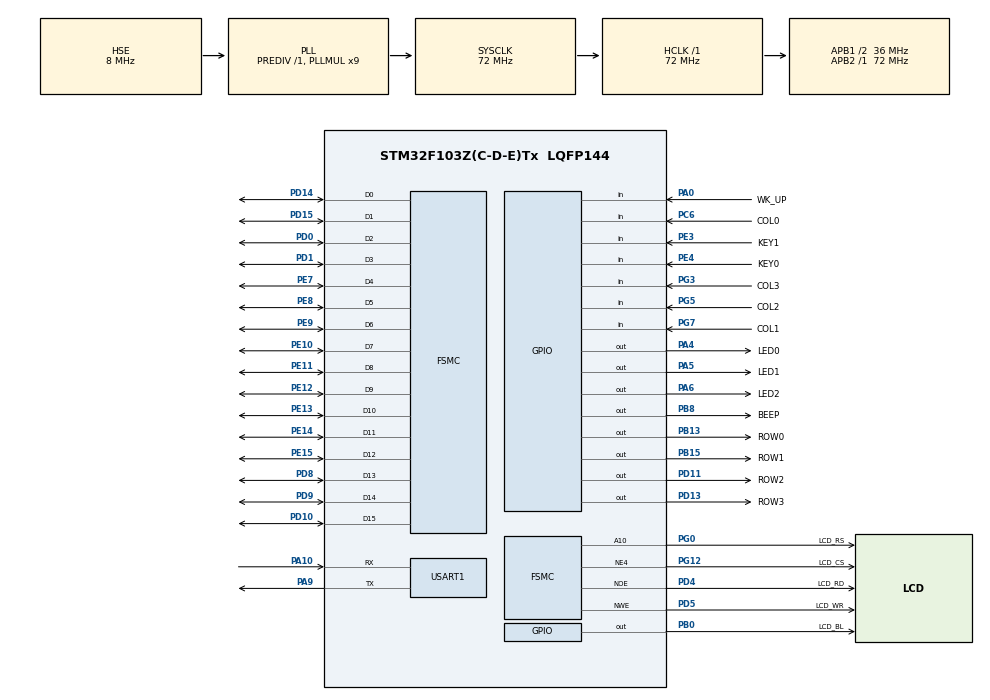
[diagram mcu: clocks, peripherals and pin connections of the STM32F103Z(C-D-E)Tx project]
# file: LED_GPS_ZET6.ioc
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FSMC.AddressSetupTime1=0
FSMC.BusTurnAroundDuration1=0
FSMC.DataSetupTime1=1
FSMC.ExtendedAddressSetupTime1=0
FSMC.ExtendedBusTurnAroundDuration1=0
FSMC.ExtendedDataSetupTime1=1
FSMC.ExtendedMode1=FSMC_EXTENDED_MODE_ENABLE
Mcu.Family=STM32F1
Mcu.Name=STM32F103Z(C-D-E)Tx
Mcu.Package=LQFP144
NVIC.PriorityGroup=NVIC_PRIORITYGROUP_2
NVIC.TIM1_UP_IRQn=true\:1\:0\:true\:false\:true\:true\:true\:true
NVIC.TIM6_IRQn=true\:3\:0\:true\:false\:true\:true\:true\:true
NVIC.USART1_IRQn=true\:2\:2\:true\:false\:true\:true\:true\:true
OSC_IN.Mode=HSE-External-Oscillator
OSC_IN.Signal=RCC_OSC_IN
OSC_OUT.Mode=HSE-External-Oscillator
OSC_OUT.Signal=RCC_OSC_OUT
PA0-WKUP.GPIO_Label=WK_UP
PA0-WKUP.GPIO_PuPd=GPIO_PULLDOWN
PA0-WKUP.Signal=GPIO_Input
PA10.Mode=Asynchronous
PA10.Signal=USART1_RX
PA13.Mode=Serial_Wire
PA13.Signal=SYS_JTMS-SWDIO
PA14.Mode=Serial_Wire
PA14.Signal=SYS_JTCK-SWCLK
PA4.GPIO_Label=LED0
PA4.GPIO_PuPd=GPIO_PULLDOWN
PA4.GPIO_Speed=GPIO_SPEED_FREQ_HIGH
PA4.Signal=GPIO_Output
PA5.GPIO_Label=LED1
PA5.GPIO_PuPd=GPIO_PULLDOWN
PA5.GPIO_Speed=GPIO_SPEED_FREQ_HIGH
PA5.Signal=GPIO_Output
PA6.GPIO_Label=LED2
PA6.GPIO_PuPd=GPIO_PULLDOWN
PA6.GPIO_Speed=GPIO_SPEED_FREQ_HIGH
PA6.Signal=GPIO_Output
PA9.Mode=Asynchronous
PA9.Signal=USART1_TX
PB0.GPIO_Label=LCD_BL
PB0.GPIO_PuPd=GPIO_PULLUP
PB0.GPIO_Speed=GPIO_SPEED_FREQ_HIGH
PB0.PinState=GPIO_PIN_SET
PB0.Signal=GPIO_Output
PB13.GPIO_Label=ROW0
PB13.GPIO_PuPd=GPIO_PULLUP
PB13.PinState=GPIO_PIN_SET
PB13.Signal=GPIO_Output
PB15.GPIO_Label=ROW1
PB15.GPIO_PuPd=GPIO_PULLUP
PB15.PinState=GPIO_PIN_SET
PB15.Signal=GPIO_Output
PB8.GPIO_Label=BEEP
PB8.GPIO_ModeDefaultOutputPP=GPIO_MODE_OUTPUT_PP
PB8.GPIO_PuPd=GPIO_PULLDOWN
PB8.GPIO_Speed=GPIO_SPEED_FREQ_HIGH
PB8.PinState=GPIO_PIN_RESET
PB8.Signal=GPIO_Output
PC14-OSC32_IN.Mode=LSE-External-Oscillator
PC14-OSC32_IN.Signal=RCC_OSC32_IN
PC15-OSC32_OUT.Mode=LSE-External-Oscillator
PC15-OSC32_OUT.Signal=RCC_OSC32_OUT
PC6.GPIO_Label=COL0
PC6.GPIO_PuPd=GPIO_PULLUP
PC6.Signal=GPIO_Input
PD0.Signal=FSMC_D2_DA2
PD1.Signal=FSMC_D3_DA3
PD10.Signal=FSMC_D15_DA15
PD11.GPIO_Label=ROW2
PD11.GPIO_PuPd=GPIO_PULLUP
PD11.PinState=GPIO_PIN_SET
PD11.Signal=GPIO_Output
PD13.GPIO_Label=ROW3
PD13.GPIO_PuPd=GPIO_PULLUP
PD13.PinState=GPIO_PIN_SET
PD13.Signal=GPIO_Output
PD14.Signal=FSMC_D0_DA0
PD15.Signal=FSMC_D1_DA1
PD4.GPIO_Label=LCD_RD
PD4.Signal=FSMC_NOE
PD5.GPIO_Label=LCD_WR
PD5.Signal=FSMC_NWE
PD8.Signal=FSMC_D13_DA13
PD9.Signal=FSMC_D14_DA14
PE10.Signal=FSMC_D7_DA7
PE11.Signal=FSMC_D8_DA8
PE12.Signal=FSMC_D9_DA9
PE13.Signal=FSMC_D10_DA10
PE14.Signal=FSMC_D11_DA11
PE15.Signal=FSMC_D12_DA12
PE3.GPIO_Label=KEY1
PE3.GPIO_PuPd=GPIO_PULLUP
PE3.Signal=GPIO_Input
PE4.GPIO_Label=KEY0
PE4.GPIO_PuPd=GPIO_PULLUP
PE4.Signal=GPIO_Input
PE7.Signal=FSMC_D4_DA4
PE8.Signal=FSMC_D5_DA5
PE9.Signal=FSMC_D6_DA6
PG0.GPIO_Label=LCD_RS
PG0.Signal=FSMC_A10
PG12.GPIO_Label=LCD_CS
PG12.Mode=NorPsramChipSelect4_1
PG12.Signal=FSMC_NE4
PG3.GPIO_Label=COL3
PG3.GPIO_PuPd=GPIO_PULLUP
PG3.Signal=GPIO_Input
PG5.GPIO_Label=COL2
PG5.GPIO_PuPd=GPIO_PULLUP
PG5.Signal=GPIO_Input
PG7.GPIO_Label=COL1
PG7.GPIO_PuPd=GPIO_PULLUP
PG7.Signal=GPIO_Input
ProjectManager.HeapSize=0x200
ProjectManager.StackSize=0x400
ProjectManager.TargetToolchain=STM32CubeIDE
RCC.AHBFreq_Value=72000000
RCC.APB1CLKDivider=RCC_HCLK_DIV2
RCC.APB1Freq_Value=36000000
RCC.APB1TimFreq_Value=72000000
RCC.APB2Freq_Value=72000000
RCC.APB2TimFreq_Value=72000000
RCC.HCLKFreq_Value=72000000
RCC.PLLMUL=RCC_PLL_MUL9
RCC.PLLSourceVirtual=RCC_PLLSOURCE_HSE
RCC.SYSCLKFreq_VALUE=72000000
RCC.SYSCLKSource=RCC_SYSCLKSOURCE_PLLCLK
RCC.USBFreq_Value=72000000
SH.FSMC_A10.0=FSMC_A10,A10_1
SH.FSMC_D0_DA0.0=FSMC_D0,16b-d1
SH.FSMC_D10_DA10.0=FSMC_D10,16b-d1
SH.FSMC_D11_DA11.0=FSMC_D11,16b-d1
SH.FSMC_D12_DA12.0=FSMC_D12,16b-d1
SH.FSMC_D13_DA13.0=FSMC_D13,16b-d1
SH.FSMC_D14_DA14.0=FSMC_D14,16b-d1
SH.FSMC_D15_DA15.0=FSMC_D15,16b-d1
SH.FSMC_D1_DA1.0=FSMC_D1,16b-d1
SH.FSMC_D2_DA2.0=FSMC_D2,16b-d1
SH.FSMC_D3_DA3.0=FSMC_D3,16b-d1
SH.FSMC_D4_DA4.0=FSMC_D4,16b-d1
SH.FSMC_D5_DA5.0=FSMC_D5,16b-d1
SH.FSMC_D6_DA6.0=FSMC_D6,16b-d1
SH.FSMC_D7_DA7.0=FSMC_D7,16b-d1
SH.FSMC_D8_DA8.0=FSMC_D8,16b-d1
SH.FSMC_D9_DA9.0=FSMC_D9,16b-d1
SH.FSMC_NOE.0=FSMC_NOE,Lcd1
SH.FSMC_NWE.0=FSMC_NWE,Lcd1
TIM1.Period=100 - 1
TIM1.Prescaler=45 - 1
TIM6.Period=1000 - 1
TIM6.Prescaler=72 - 1
USART1.VirtualMode=VM_ASYNC
VP_TIM1_VS_ClockSourceINT.Mode=Internal
VP_TIM6_VS_ClockSourceINT.Mode=Enable_Timer
board=custom

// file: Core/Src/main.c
/* USER CODE BEGIN Header */
/**
 ****************************************************************************************************
 * @file        main.c
 * @author      锟斤拷锟斤拷原锟斤拷锟脚讹拷(ALIENTEK)
 * @version     V1.0
 * @date        2024-01-01
 * @brief       TFTLCD(MCU锟斤拷) 实锟斤拷
 * @license     Copyright (c) 2020-2032, 锟斤拷锟斤拷锟斤拷锟斤拷锟斤拷锟斤拷涌萍锟斤拷锟斤拷薰锟剿�
 ****************************************************************************************************
 * @attention
 *
 * 实锟斤拷平台:锟斤拷锟斤拷原锟斤拷 STM32F103锟斤拷锟斤拷锟斤拷
 * 锟斤拷锟斤拷锟斤拷频:www.yuanzige.com
 * 锟斤拷锟斤拷锟斤拷坛:www.openedv.com
 * 锟斤拷司锟斤拷址:www.alientek.com
 * 锟斤拷锟斤拷锟街�:openedv.taobao.com
 *
 ****************************************************************************************************
 */
/* USER CODE END Header */
#include "main.h"
#include "tim.h"
#include "usart.h"
#include "gpio.h"
#include "fsmc.h"

/* USER CODE BEGIN Includes */
#include "../../BSP/LED/led.h"
#include "../../BSP/KEY/key.h"
#include "../../BSP/LCD/lcd.h"
#include "../../BSP/KEYBOARD/keyboard.h"
#include "../../BSP/MUSIC/music.h"
#include "../../SYSTEM/delay/delay.h"
/* USER CODE END Includes */

/* USER CODE BEGIN PM */
#define FRAME_PER_USER	2	//每个用户时隙占用的数据帧数
/* USER CODE END PM */

/* USER CODE BEGIN PV */
int Sync_code[8] = {1,1,1,0,1,0,1,0};
int LED0_code[8] = {0,0,0,0,1,0,1,0};
int LED1_code[8] = {0,0,1,0,1,1,0,1};
int LED2_code[8] = {0,0,0,1,1,0,0,1};
int FFH[8] = {1,1,1,1,1,1,1,1};
int Frame_count = 0;  //帧数记数，每个LED100帧
int LED_choose = 0; //LED选择，0-LED0，1-LED1，2-LED2
int LED_code_count = 0; //LED编码计数
int LED0_message[8] = {0,0,0,0,0,0,0,0}; //LED0消息，此处用来发送数据的位置，从0-255，0代表不发送
int LED1_message[8] = {0,0,0,0,0,0,0,0}; //LED1消息，用来发送数据，使用二进制码，全0代表空数据
int LED2_message[8] = {1,1,1,1,1,1,1,1}; //LED2消息，暂无用处

uint8_t LED0_message_bin = 0; //LED0消息二进制值
uint8_t LED1_message_bin = 0; //LED1消息二进制值
uint8_t LED2_message_bin = 0; //LED2消息二进制值

KeyBoard_t KeyBoardCtrl[ROW_NUM];	//存储行状态
uint8_t KeyBoardBuffer[KEY_BUFFER_SIZE];	//存储按键按下的值, 按键值的范围为1-16,129-144,0代表无值,1-16代表按下1-16,129-144代表抬起对应按键
uint8_t scanRow = 0;				//当前扫描的行
volatile uint8_t KeyBoardBuffW = 0;			//写索引
volatile uint8_t KeyBoardBuffR = 0;			//读索引

uint16_t music[MUSIC_LEN + 2];	//发送的乐谱信息, 加入开始和结束标志符
uint8_t music_indexR = 0;	//读索引
volatile uint8_t message_mode = 0;		//led_message数据帧的内容 0-矩阵键盘 1-乐谱信息
/* USER CODE END PV */

void SystemClock_Config(void);

int main(void)
{

  /* MCU Configuration--------------------------------------------------------*/

  /* Reset of all peripherals, Initializes the Flash interface and the Systick. */
  HAL_Init();

  /* Configure the system clock */
  SystemClock_Config();

  /* USER CODE BEGIN SysInit */
  delay_init(72);						   /* 锟斤拷始锟斤拷锟斤拷时锟斤拷锟斤拷 */
  /* USER CODE END SysInit */

  /* Initialize all configured peripherals */
  MX_GPIO_Init();
  MX_FSMC_Init();
  MX_USART1_UART_Init();
  MX_TIM1_Init();
  MX_TIM6_Init();
  /* USER CODE BEGIN 2 */
  //HAL_TIM_Base_Start(&htim1);             /* TIM1计时开始 */
  lcd_init();                            /* LCD初始化 */
  lcd_clear(WHITE);                      /* LCD清屏 */
  keyboard_init();                        /* 矩阵键盘初始化 */
  LED0(0);
  LED1(0);
  LED2(0);
  delay_ms(1000);
  HAL_TIM_Base_Start_IT(&htim1);          /* TIM1计时中断开始 */
  HAL_TIM_Base_Start_IT(&htim6);

  build_led_message(music);
  /* USER CODE END 2 */

  /* Infinite loop */
  /* USER CODE BEGIN WHILE */
  while (1)
  {
	  if(key_scan(0) == WKUP_PRES) {	//WKUP按键按下时切换帧内容
		  message_mode = (message_mode + 1) % 2;
	  }
    keyboard_scan();                      /* 键盘扫描 */
    for(int i = 0; i < 8; i++)
    {
      uint8_t led0_message = (LED0_message_bin & (1 << i));
      uint8_t led1_message = (LED1_message_bin & (1 << i));
      LED0_message[7 - i] = led0_message ? 1 : 0; //将LED0消息转换为二进制
      LED1_message[7 - i] = led1_message ? 1 : 0; //将LED1消息转换为二进制
    }
    char led1_message_str[30];
    sprintf(led1_message_str, "messsage: %X", LED1_message_bin);
    lcd_show_string(30, 90, 200, 16, 16, led1_message_str, RED);
    //printf("%d \r\n", LED1_message_bin);

    /* USER CODE END WHILE */

  }
}

void SystemClock_Config(void)
{
  RCC_OscInitTypeDef RCC_OscInitStruct = {0};
  RCC_ClkInitTypeDef RCC_ClkInitStruct = {0};

  /** Initializes the RCC Oscillators according to the specified parameters
  * in the RCC_OscInitTypeDef structure.
  */
  RCC_OscInitStruct.OscillatorType = RCC_OSCILLATORTYPE_HSE;
  RCC_OscInitStruct.HSEState = RCC_HSE_ON;
  RCC_OscInitStruct.HSEPredivValue = RCC_HSE_PREDIV_DIV1;
  RCC_OscInitStruct.HSIState = RCC_HSI_ON;
  RCC_OscInitStruct.PLL.PLLState = RCC_PLL_ON;
  RCC_OscInitStruct.PLL.PLLSource = RCC_PLLSOURCE_HSE;
  RCC_OscInitStruct.PLL.PLLMUL = RCC_PLL_MUL9;
  if (HAL_RCC_OscConfig(&RCC_OscInitStruct) != HAL_OK)
  {
    Error_Handler();
  }

  /** Initializes the CPU, AHB and APB buses clocks
  */
  RCC_ClkInitStruct.ClockType = RCC_CLOCKTYPE_HCLK|RCC_CLOCKTYPE_SYSCLK
                              |RCC_CLOCKTYPE_PCLK1|RCC_CLOCKTYPE_PCLK2;
  RCC_ClkInitStruct.SYSCLKSource = RCC_SYSCLKSOURCE_PLLCLK;
  RCC_ClkInitStruct.AHBCLKDivider = RCC_SYSCLK_DIV1;
  RCC_ClkInitStruct.APB1CLKDivider = RCC_HCLK_DIV2;
  RCC_ClkInitStruct.APB2CLKDivider = RCC_HCLK_DIV1;

  if (HAL_RCC_ClockConfig(&RCC_ClkInitStruct, FLASH_LATENCY_2) != HAL_OK)
  {
    Error_Handler();
  }
}

/* USER CODE BEGIN 4 */
void HAL_TIM_PeriodElapsedCallback(TIM_HandleTypeDef *htim)
{
  if(htim->Instance == TIM1 && message_mode == 0)	//发送矩阵键盘编码值
  {
    switch (LED_choose)
    {
    case 0: //LED0
      if(HAL_GPIO_ReadPin(LED2_GPIO_Port, LED2_Pin))
      {
    	  LED2(0);
      }
      if (Frame_count < FRAME_PER_USER)
      {
        if (LED_code_count < 8)
        {
          if (Sync_code[LED_code_count] == 1)
          {
            LED0(1);
          }
          else
          {
              LED0(0);
          }
          LED_code_count++;
        }
        else if(LED_code_count < 16)
        {
          if(LED0_code[LED_code_count - 8] == 1)
          {
              LED0(1);
          }
          else
          {
              LED0(0);
          }
          LED_code_count++;
        }
        else if(LED_code_count < 24)
        {
          if (FFH[LED_code_count - 16] == 1)
          {
        	  LED0(1);
          }
          else
          {
            LED0(0);
          }
          LED_code_count++;
        }
        else if(LED_code_count < 32)
        {
          if (LED0_message[LED_code_count - 24] == 1)
          {
        	  LED0(1);
          }
          else
          {
            LED0(0);
          }

          LED_code_count++;
          if(LED_code_count == 32)
          {
        	  LED_code_count = 0;
              Frame_count++;
              if(Frame_count == FRAME_PER_USER)
              {
            	  Frame_count = 0;
            	  LED_choose = 1;
              }
          }
        }
      }
      break;
    case 1: //LED1
      if(HAL_GPIO_ReadPin(LED0_GPIO_Port, LED0_Pin))
      {
    	  LED0(0);
      }
      if (Frame_count < FRAME_PER_USER)
      {
        if (LED_code_count < 8)
        {
          if (Sync_code[LED_code_count] == 1)
          {
              LED1(1);
          }
          else
          {
              LED1(0);
          }
          LED_code_count++;
        }
        else if(LED_code_count < 16)
        {
          if(LED1_code[LED_code_count - 8] == 1)
          {
              LED1(1);
          }
          else
          {
              LED1(0);
          }
          LED_code_count++;
        }
        else if(LED_code_count < 24)
        {
          if (FFH[LED_code_count - 16] == 1)
          {
              LED1(1);
          }
          else
          {
              LED1(0);
          }
          LED_code_count++;
        }
        else if(LED_code_count < 32)
        {
          if (LED1_message[LED_code_count - 24] == 1)
          {
              LED1(1);
          }
          else
          {
              LED1(0);
          }

          LED_code_count++;
          if(LED_code_count == 32)
          {
        	  LED_code_count = 0;
              Frame_count++;
              if(Frame_count == FRAME_PER_USER)
              {
            	  Frame_count = 0;
            	  LED_choose = 2;
              }
          }
        }
      }
      break;
    case 2: //LED2
      if(HAL_GPIO_ReadPin(LED1_GPIO_Port, LED1_Pin))
      {
    	  LED1(0);
      }
      if (Frame_count < FRAME_PER_USER)
      {
        if (LED_code_count < 8)
        {
          if (Sync_code[LED_code_count] == 1)
          {
              LED2(1);
          }
          else
          {
              LED2(0);
          }
          LED_code_count++;
        }
        else if(LED_code_count < 16)
        {
          if(LED2_code[LED_code_count - 8] == 1)
          {
              LED2(1);
          }
          else
          {
              LED2(0);
          }
          LED_code_count++;
        }
        else if(LED_code_count < 24)
        {
            if (FFH[LED_code_count - 16] == 1)
            {
                LED2(1);
            }
            else
            {
              LED2(0);
            }
            LED_code_count++;
        }
        else if(LED_code_count < 32)
        {
          if (LED2_message[LED_code_count - 24] == 1)
          {
            LED2(1);
          }
          else
          {
            LED2(0);
          }

          LED_code_count++;
          if(LED_code_count == 32)
          {
        	  LED_code_count = 0;
              Frame_count++;
              if(Frame_count == FRAME_PER_USER)
              {
            	  Frame_count = 0;
            	  LED_choose = 0;
              }
          }
        }
      }
      break;
    default:
      break;
    }
  }
  else if(htim->Instance == TIM1 && message_mode) {		//发送乐谱信息
	  uint16_t cur_tone = 0;
	  uint16_t cur_led_message[16];

	  if(music_indexR < MUSIC_LEN + 2) {
		  cur_tone = music[music_indexR];	//当前要发送的乐谱信息
		  for(int i = 0; i < 16; i++) {
			  cur_led_message[i] = (cur_tone >> (15 - i)) & 0x01;
		  }
	  }

	  switch(LED_choose) {
	  case 0:
		  if(HAL_GPIO_ReadPin(LED2_GPIO_Port, LED2_Pin)) LED2(0);
		  if(Frame_count < FRAME_PER_USER) {		//一个用户时隙占用5个数据帧
			  if(LED_code_count < 8) {	//发送同步码
				  LED0(Sync_code[LED_code_count]);
			  }
			  else if(LED_code_count < 16) {	//发送用户码
				  LED0(LED0_code[LED_code_count - 8]);
			  }
			  else if(LED_code_count < 24) {	//发送0xFFH
				  LED0(FFH[LED_code_count - 16]);
			  }
			  else if(LED_code_count < 40) {	//发送乐谱信息
				  LED0(cur_led_message[LED_code_count - 24]);
			  }
			  LED_code_count++;

			  if(LED_code_count == 40) {
				  LED_code_count = 0;
				  Frame_count++;
				  music_indexR = (music_indexR + 1) % (MUSIC_LEN + 2);
				  if(Frame_count == FRAME_PER_USER) {
					  Frame_count = 0;
					  LED_choose = 1;
				  }
			  }
		  }
		  break;
	  case 1:
		  if(HAL_GPIO_ReadPin(LED0_GPIO_Port, LED0_Pin)) LED0(0);
		  if(Frame_count < FRAME_PER_USER) {		//一个用户时隙占用5个数据帧
			  if(LED_code_count < 8) {	//发送同步码
				  LED1(Sync_code[LED_code_count]);
			  }
			  else if(LED_code_count < 16) {	//发送用户码
				  LED1(LED1_code[LED_code_count - 8]);
			  }
			  else if(LED_code_count < 24) {	//发送0xFFH
				  LED1(FFH[LED_code_count - 16]);
			  }
			  else if(LED_code_count < 40) {	//发送乐谱信息
				  LED1(cur_led_message[LED_code_count - 24]);
			  }
			  LED_code_count++;

			  if(LED_code_count == 40) {
				  LED_code_count = 0;
				  Frame_count++;
				  music_indexR = (music_indexR + 1) % (MUSIC_LEN + 2);
				  if(Frame_count == FRAME_PER_USER) {
					  Frame_count = 0;
					  LED_choose = 2;
				  }
			  }
		  }
		  break;
	  case 2:
		  if(HAL_GPIO_ReadPin(LED1_GPIO_Port, LED1_Pin)) LED1(0);
		  if(Frame_count < FRAME_PER_USER) {		//一个用户时隙占用5个数据帧
			  if(LED_code_count < 8) {	//发送同步码
				  LED2(Sync_code[LED_code_count]);
			  }
			  else if(LED_code_count < 16) {	//发送用户码
				  LED2(LED2_code[LED_code_count - 8]);
			  }
			  else if(LED_code_count < 24) {	//发送0xFFH
				  LED2(FFH[LED_code_count - 16]);
			  }
			  else if(LED_code_count < 40) {	//发送乐谱信息
				  LED2(cur_led_message[LED_code_count - 24]);
			  }
			  LED_code_count++;

			  if(LED_code_count == 40) {
				  LED_code_count = 0;
				  Frame_count++;
				  music_indexR = (music_indexR + 1) % (MUSIC_LEN + 2);
				  if(Frame_count == FRAME_PER_USER) {
					  Frame_count = 0;
					  LED_choose = 0;
				  }
			  }
		  }
		  break;
	  }

  }
  //按键消抖延时定时器, 1ms调用一次
  else if(htim->Instance == TIM6) {
	  KeyBoardCtrl[scanRow].dec++;
  }

}
/* USER CODE END 4 */

void Error_Handler(void)
{
  __disable_irq();
  while (1)
  {
  }
}
